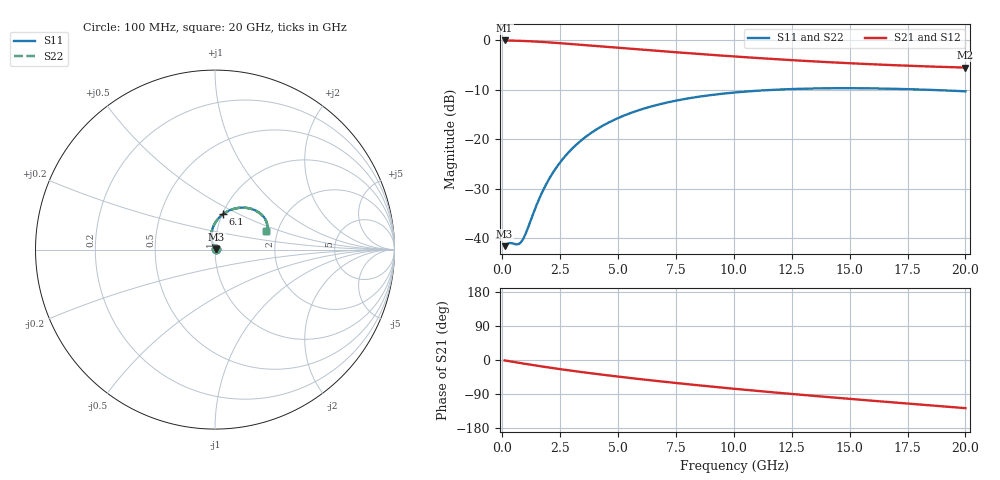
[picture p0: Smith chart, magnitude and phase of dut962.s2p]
! Touchstone file exported from HFSS 2024.1.0
!  File:  C:/UserFiles/LocalFiles/RDL_TSV_Batchsim/temp_RDL_TSV_962_1779968764.aedt
!  Generated:  08:04:39 PM May 28, 2026
!  Design:  RDL_TSV
!  Project:  temp_RDL_TSV_962_1779968764
!  Setup:  Setup1
!  Solution:  Sweep
! Variables:
!  dtsv = 6.6um
!  hbump = 3um
!  htsv = 55.25um
!  ldown = 293.72um
!  lrdl = 244.12um
!  p = 40
!  p1 = 43.38um
!  rhole = 10um
!  subl = 1857.64um
!  t = 450um
!  tdown = 4.22um
!  trdl = 4.59um
!  viad = 10um
!  wdown = 29.28um
!  wrdl = 17.67um
!  xbump = 18um
# GHz S MA R 50.000000
! Terminal data exported
! Port[1] = TM1_1_T1
! Port[2] = TM1_4_T1
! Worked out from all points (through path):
!   200 points, 100 MHz to 20 GHz, reference 50 ohm
!   highest |S21| = -0.07 dB at 100 MHz (marker M1); lowest = -5.5 dB at 20 GHz (marker M2)
!   group delay of S21, straight-line fit = 16.9 ps
!   lowest |S11| = -41.6 dB at 100 MHz (marker M3), VSWR 1.02, Z = 50.8 + j0.14 ohm
!   |S11| at or under -10 dB: start of sweep to 11.82 GHz; 18.27 GHz to end of sweep
!   |S22| runs from -41.6 to -9.7 dB; largest |S21 - S12| = 2.8e-14
!   S11 on the Smith chart (normalised r, x): 100 MHz: 1.02, +0.00; 6.1 GHz: 1.01, +0.42; 20 GHz: 1.74, +0.40
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0.1  0.008365 9.5  0.9915 -1.1  0.9915 -1.1  0.008365 9.5
! Gamma 0 0 0 0
! Port Impedance 50 0 50 0
0.3  0.008998 20.9  0.9896 -3.2  0.9896 -3.2  0.009 20.9
0.6  0.008718 41.0  0.9857 -6.2  0.9857 -6.2  0.008724 41.0
0.8  0.009118 61.3  0.9823 -8.2  0.9823 -8.2  0.00912 61.2
1  0.01104 81.3  0.9781 -10.2  0.9781 -10.2  0.01104 81.2
1.4  0.01948 103.6  0.9677 -14.1  0.9677 -14.1  0.01945 103.5
1.7  0.02851 109.2  0.9586 -16.9  0.9586 -16.9  0.02846 109.1
2.1  0.04276 110.5  0.945 -20.6  0.945 -20.6  0.04268 110.5
2.4  0.05456 109.4  0.9341 -23.3  0.9341 -23.3  0.05445 109.4
2.7  0.06697 107.4  0.9229 -25.9  0.9229 -25.9  0.06684 107.4
3.1  0.08406 104.1  0.9077 -29.2  0.9077 -29.2  0.0839 104.0
3.5  0.1014 100.4  0.8925 -32.4  0.8925 -32.4  0.1012 100.3
4.1  0.1271 94.7  0.8699 -37.1  0.8699 -37.1  0.1268 94.6
4.7  0.1518 89.1  0.8479 -41.6  0.8479 -41.6  0.1515 89.0
6.1  0.2035 77.0  0.7991 -51.5  0.7991 -51.5  0.2031 77.0
6.8  0.2256 71.6  0.7762 -56.2  0.7762 -56.2  0.2251 71.6
8.3  0.2646 61.3  0.7304 -65.7  0.7304 -65.7  0.264 61.3
10.1  0.2972 50.9  0.6818 -76.4  0.6818 -76.4  0.2966 50.9
11.7  0.3152 43.2  0.6445 -85.3  0.6445 -85.3  0.3145 43.2
13.4  0.3251 36.3  0.6108 -94.4  0.6108 -94.4  0.3244 36.3
16.7  0.3237 26.2  0.5611 -111.0  0.5611 -111.0  0.323 26.2
20  0.3045 20.1  0.5281 -127.1  0.5281 -127.1  0.3038 20.1
